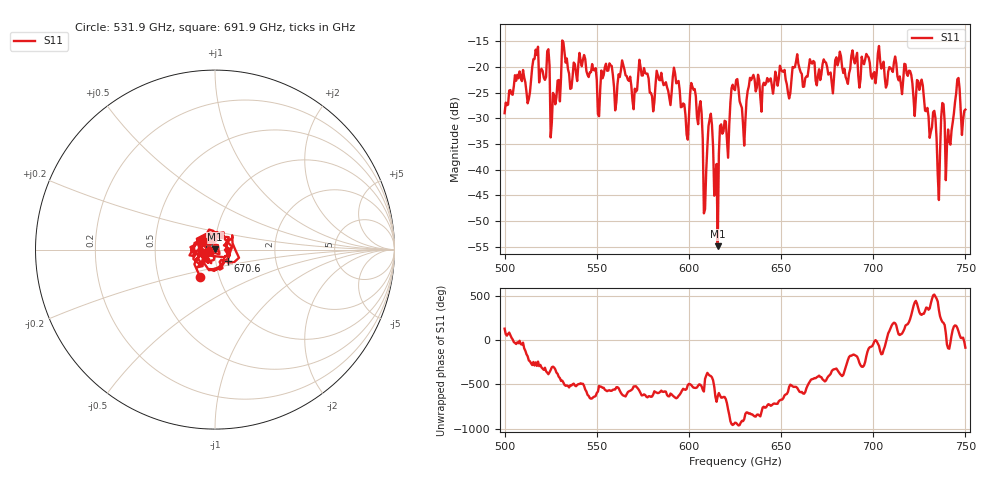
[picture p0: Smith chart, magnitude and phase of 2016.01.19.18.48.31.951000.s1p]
!Created with skrf (http://scikit-rf.org).
# GHz S RI R 50.0
!freq ReS11 ImS11
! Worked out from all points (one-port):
!   401 points, 500 GHz to 750 GHz, reference 50 ohm
!   lowest |S11| = -54.9 dB at 615.6 GHz (marker M1), VSWR 1.00, Z = 50 + j0.18 ohm
!   |S11| at or under -10 dB: start of sweep to end of sweep
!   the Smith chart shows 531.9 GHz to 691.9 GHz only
!   S11 on the Smith chart (normalised r, x): 531.9 GHz: 0.81, -0.26; 670.6 GHz: 1.15, -0.14; 691.9 GHz: 0.87, +0.08
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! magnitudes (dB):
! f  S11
! 500 GHz  -29.0
! 513.1 GHz  -26.2
! 516.9 GHz  -16.6
! 523.1 GHz  -16.9
! 526.2 GHz  -25.0
! 531.2 GHz  -14.8
! 531.9 GHz  -15.1
! 551.2 GHz  -29.6
! 562.5 GHz  -21.9
! 593.8 GHz  -22.9
! 598.8 GHz  -33.2
! 602.5 GHz  -24.4
! 608.8 GHz  -47.7
! 611.2 GHz  -30.2
! 615.6 GHz  -54.9
! 625 GHz  -24.5
! 629.4 GHz  -31.3
! 634.4 GHz  -22.0
! 656.2 GHz  -20.0
! 670.6 GHz  -20.4
! 687.5 GHz  -20.4
! 691.9 GHz  -21.7
! 718.8 GHz  -21.7
! 735 GHz  -41.0
! 737.5 GHz  -27.0
! 740.6 GHz  -32.2
! 745.6 GHz  -22.4
! 750 GHz  -28.3
